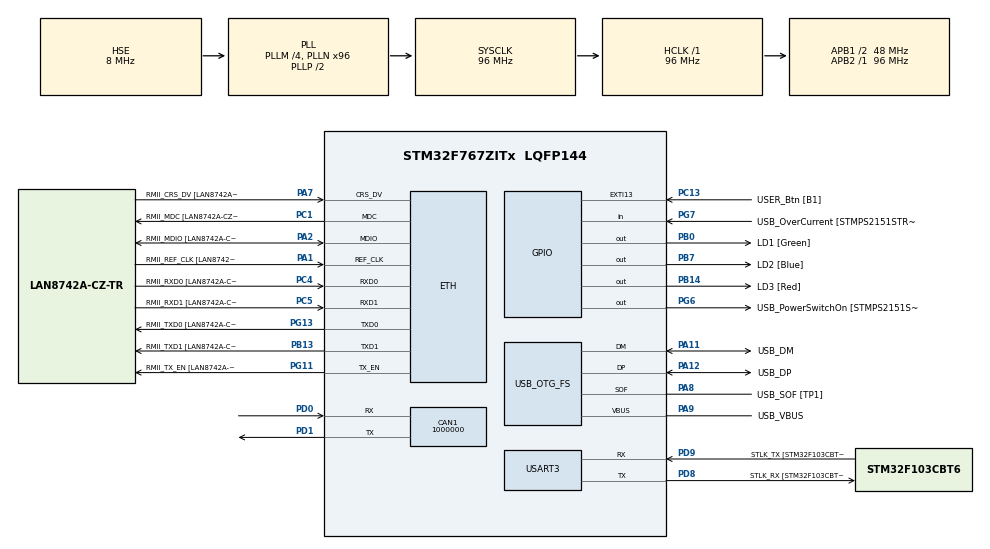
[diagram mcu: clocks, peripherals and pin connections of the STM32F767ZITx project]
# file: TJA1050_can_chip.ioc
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CAN1.CalculateBaudRate=1000000
CAN1.CalculateTimeQuantum=333.3333333333333
ETH.MediaInterface=HAL_ETH_RMII_MODE
ETH.PHY_Name=LAN8742A_PHY_ADDRESS
ETH.PHY_Value=0
ETH.PhyAddress=0
FREERTOS.Tasks01=defaultTask,24,128,StartDefaultTask,Default,NULL,Dynamic,NULL,NULL
Mcu.Family=STM32F7
Mcu.Name=STM32F767ZITx
Mcu.Package=LQFP144
NVIC.PriorityGroup=NVIC_PRIORITYGROUP_4
PA1.GPIO_Label=RMII_REF_CLK [LAN8742A-CZ-TR_REFCLK0]
PA1.Mode=RMII
PA1.Signal=ETH_REF_CLK
PA10.GPIO_Label=USB_ID
PA10.Signal=USB_OTG_FS_ID
PA11.GPIO_Label=USB_DM
PA11.Mode=Device_Only
PA11.Signal=USB_OTG_FS_DM
PA12.GPIO_Label=USB_DP
PA12.Mode=Device_Only
PA12.Signal=USB_OTG_FS_DP
PA13.GPIO_Label=TMS
PA13.Mode=Serial_Wire
PA13.Signal=SYS_JTMS-SWDIO
PA14.GPIO_Label=TCK
PA14.Mode=Serial_Wire
PA14.Signal=SYS_JTCK-SWCLK
PA2.GPIO_Label=RMII_MDIO [LAN8742A-CZ-TR_MDIO]
PA2.Mode=RMII
PA2.Signal=ETH_MDIO
PA7.GPIO_Label=RMII_CRS_DV [LAN8742A-CZ-TR_CRS_DV]
PA7.Mode=RMII
PA7.Signal=ETH_CRS_DV
PA8.GPIO_Label=USB_SOF [TP1]
PA8.Mode=Activate_SOF_FS
PA8.Signal=USB_OTG_FS_SOF
PA9.GPIO_Label=USB_VBUS
PA9.Mode=Activate_VBUS
PA9.Signal=USB_OTG_FS_VBUS
PB0.GPIO_Label=LD1 [Green]
PB0.Signal=GPIO_Output
PB13.GPIO_Label=RMII_TXD1 [LAN8742A-CZ-TR_TXD1]
PB13.Mode=RMII
PB13.Signal=ETH_TXD1
PB14.GPIO_Label=LD3 [Red]
PB14.Signal=GPIO_Output
PB3.GPIO_Label=SWO
PB3.Signal=SYS_JTDO-SWO
PB7.GPIO_Label=LD2 [Blue]
PB7.Signal=GPIO_Output
PC1.GPIO_Label=RMII_MDC [LAN8742A-CZ-TR_MDC]
PC1.Mode=RMII
PC1.Signal=ETH_MDC
PC13.GPIO_Label=USER_Btn [B1]
PC13.Signal=GPXTI13
PC14/OSC32_IN.Mode=LSE-External-Oscillator
PC14/OSC32_IN.Signal=RCC_OSC32_IN
PC15/OSC32_OUT.Mode=LSE-External-Oscillator
PC15/OSC32_OUT.Signal=RCC_OSC32_OUT
PC4.GPIO_Label=RMII_RXD0 [LAN8742A-CZ-TR_RXD0]
PC4.Mode=RMII
PC4.Signal=ETH_RXD0
PC5.GPIO_Label=RMII_RXD1 [LAN8742A-CZ-TR_RXD1]
PC5.Mode=RMII
PC5.Signal=ETH_RXD1
PD0.Mode=CAN_Activate
PD0.Signal=CAN1_RX
PD1.Mode=CAN_Activate
PD1.Signal=CAN1_TX
PD8.GPIO_Label=STLK_RX [STM32F103CBT6_PA3]
PD8.Mode=Asynchronous
PD8.Signal=USART3_TX
PD9.GPIO_Label=STLK_TX [STM32F103CBT6_PA2]
PD9.Mode=Asynchronous
PD9.Signal=USART3_RX
PG11.GPIO_Label=RMII_TX_EN [LAN8742A-CZ-TR_TXEN]
PG11.Mode=RMII
PG11.Signal=ETH_TX_EN
PG13.GPIO_Label=RMII_TXD0 [LAN8742A-CZ-TR_TXD0]
PG13.Mode=RMII
PG13.Signal=ETH_TXD0
PG6.GPIO_Label=USB_PowerSwitchOn [STMPS2151STR_EN]
PG6.Signal=GPIO_Output
PG7.GPIO_Label=USB_OverCurrent [STMPS2151STR_FAULT]
PG7.Signal=GPIO_Input
PH0/OSC_IN.GPIO_Label=MCO [STM32F103CBT6_PA8]
PH0/OSC_IN.Mode=HSE-External-Clock-Source
PH0/OSC_IN.Signal=RCC_OSC_IN
PH1/OSC_OUT.Mode=HSE-External-Clock-Source
PH1/OSC_OUT.Signal=RCC_OSC_OUT
ProjectManager.HeapSize=0x200
ProjectManager.StackSize=0x400
ProjectManager.TargetToolchain=STM32CubeIDE
RCC.48MHZClocksFreq_Value=24000000
RCC.AHBFreq_Value=96000000
RCC.APB1CLKDivider=RCC_HCLK_DIV2
RCC.APB1Freq_Value=48000000
RCC.APB1TimFreq_Value=96000000
RCC.APB2Freq_Value=96000000
RCC.APB2TimFreq_Value=96000000
RCC.CortexFreq_Value=96000000
RCC.HCLKFreq_Value=96000000
RCC.HSE_VALUE=8000000
RCC.HSI_VALUE=16000000
RCC.PLLM=4
RCC.PLLMUL=RCC_PLL_MUL9
RCC.PLLN=96
RCC.PLLQ=4
RCC.PRESCALERUSB=RCC_USBCLKSOURCE_PLL_DIV1_5
RCC.SYSCLKFreq_VALUE=96000000
RCC.SYSCLKSource=RCC_SYSCLKSOURCE_PLLCLK
RCC.SYSCLKSourceVirtual=RCC_SYSCLKSOURCE_PLLCLK
RCC.USBFreq_Value=48000000
RCC.VCOOutputFreq_Value=192000000
USART3.VirtualMode-Asynchronous=VM_ASYNC
USB_OTG_FS.VirtualMode=Device_Only
VP_FREERTOS_VS_CMSIS_V2.Mode=CMSIS_V2
board=NUCLEO-F767ZI

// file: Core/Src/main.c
/* USER CODE BEGIN Header */
/**
  ******************************************************************************
  * @file           : main.c
  * @brief          : Main program body
  ******************************************************************************
  * @attention
  *
  * Copyright (c) 2023 STMicroelectronics.
  * All rights reserved.
  *
  * This software is licensed under terms that can be found in the LICENSE file
  * in the root directory of this software component.
  * If no LICENSE file comes with this software, it is provided AS-IS.
  *
  ******************************************************************************
  */
/* USER CODE END Header */
#include "main.h"
#include "string.h"
#include "cmsis_os.h"

/* USER CODE BEGIN Includes */
#include "SEGGER_SYSVIEW.h"
/* USER CODE END Includes */

#if defined ( __ICCARM__ ) /*!< IAR Compiler */
#pragma location=0x2007c000
ETH_DMADescTypeDef  DMARxDscrTab[ETH_RX_DESC_CNT]; /* Ethernet Rx DMA Descriptors */
#pragma location=0x2007c0a0
ETH_DMADescTypeDef  DMATxDscrTab[ETH_TX_DESC_CNT]; /* Ethernet Tx DMA Descriptors */

#elif defined ( __CC_ARM )  /* MDK ARM Compiler */

__attribute__((at(0x2007c000))) ETH_DMADescTypeDef  DMARxDscrTab[ETH_RX_DESC_CNT]; /* Ethernet Rx DMA Descriptors */
__attribute__((at(0x2007c0a0))) ETH_DMADescTypeDef  DMATxDscrTab[ETH_TX_DESC_CNT]; /* Ethernet Tx DMA Descriptors */

#elif defined ( __GNUC__ ) /* GNU Compiler */
ETH_DMADescTypeDef DMARxDscrTab[ETH_RX_DESC_CNT] __attribute__((section(".RxDecripSection"))); /* Ethernet Rx DMA Descriptors */
ETH_DMADescTypeDef DMATxDscrTab[ETH_TX_DESC_CNT] __attribute__((section(".TxDecripSection")));   /* Ethernet Tx DMA Descriptors */

#endif

ETH_TxPacketConfig TxConfig;

CAN_HandleTypeDef hcan1;

ETH_HandleTypeDef heth;

UART_HandleTypeDef huart3;

PCD_HandleTypeDef hpcd_USB_OTG_FS;

/* Definitions for defaultTask */
osThreadId_t defaultTaskHandle;
const osThreadAttr_t defaultTask_attributes = {
  .name = "defaultTask",
  .stack_size = 128 * 4,
  .priority = (osPriority_t) osPriorityNormal,
};
/* USER CODE BEGIN PV */
CAN_TxHeaderTypeDef   TxHeader;

uint8_t               TxData[8];

uint32_t              TxMailbox;
/* USER CODE END PV */

void SystemClock_Config(void);
static void MX_GPIO_Init(void);
static void MX_ETH_Init(void);
static void MX_USART3_UART_Init(void);
static void MX_USB_OTG_FS_PCD_Init(void);
static void MX_CAN1_Init(void);
void StartDefaultTask(void *argument);

int main(void)
{

  /* MCU Configuration--------------------------------------------------------*/

  /* Reset of all peripherals, Initializes the Flash interface and the Systick. */
  HAL_Init();

  /* USER CODE BEGIN Init */
  SEGGER_SYSVIEW_Conf();
  /* USER CODE END Init */

  /* Configure the system clock */
  SystemClock_Config();

  /* Initialize all configured peripherals */
  MX_GPIO_Init();
  MX_ETH_Init();
  MX_USART3_UART_Init();
  MX_USB_OTG_FS_PCD_Init();
  MX_CAN1_Init();
  /* USER CODE BEGIN 2 */
  HAL_CAN_Start(&hcan1);

  /* USER CODE END 2 */

  /* Init scheduler */
  osKernelInitialize();

  /* Create the thread(s) */
  /* creation of defaultTask */
  defaultTaskHandle = osThreadNew(StartDefaultTask, NULL, &defaultTask_attributes);

  /* Start scheduler */
  osKernelStart();

  /* We should never get here as control is now taken by the scheduler */
  /* Infinite loop */
  while (1)
  {

  }
}

void SystemClock_Config(void)
{
  RCC_OscInitTypeDef RCC_OscInitStruct = {0};
  RCC_ClkInitTypeDef RCC_ClkInitStruct = {0};

  /** Configure LSE Drive Capability
  */
  HAL_PWR_EnableBkUpAccess();

  /** Configure the main internal regulator output voltage
  */
  __HAL_RCC_PWR_CLK_ENABLE();
  __HAL_PWR_VOLTAGESCALING_CONFIG(PWR_REGULATOR_VOLTAGE_SCALE3);

  /** Initializes the RCC Oscillators according to the specified parameters
  * in the RCC_OscInitTypeDef structure.
  */
  RCC_OscInitStruct.OscillatorType = RCC_OSCILLATORTYPE_HSE;
  RCC_OscInitStruct.HSEState = RCC_HSE_BYPASS;
  RCC_OscInitStruct.PLL.PLLState = RCC_PLL_ON;
  RCC_OscInitStruct.PLL.PLLSource = RCC_PLLSOURCE_HSE;
  RCC_OscInitStruct.PLL.PLLM = 4;
  RCC_OscInitStruct.PLL.PLLN = 96;
  RCC_OscInitStruct.PLL.PLLP = RCC_PLLP_DIV2;
  RCC_OscInitStruct.PLL.PLLQ = 4;
  RCC_OscInitStruct.PLL.PLLR = 2;
  if (HAL_RCC_OscConfig(&RCC_OscInitStruct) != HAL_OK)
  {
    Error_Handler();
  }

  /** Activate the Over-Drive mode
  */
  if (HAL_PWREx_EnableOverDrive() != HAL_OK)
  {
    Error_Handler();
  }

  /** Initializes the CPU, AHB and APB buses clocks
  */
  RCC_ClkInitStruct.ClockType = RCC_CLOCKTYPE_HCLK|RCC_CLOCKTYPE_SYSCLK
                              |RCC_CLOCKTYPE_PCLK1|RCC_CLOCKTYPE_PCLK2;
  RCC_ClkInitStruct.SYSCLKSource = RCC_SYSCLKSOURCE_PLLCLK;
  RCC_ClkInitStruct.AHBCLKDivider = RCC_SYSCLK_DIV1;
  RCC_ClkInitStruct.APB1CLKDivider = RCC_HCLK_DIV2;
  RCC_ClkInitStruct.APB2CLKDivider = RCC_HCLK_DIV1;

  if (HAL_RCC_ClockConfig(&RCC_ClkInitStruct, FLASH_LATENCY_3) != HAL_OK)
  {
    Error_Handler();
  }
}

static void MX_CAN1_Init(void)
{

  hcan1.Instance = CAN1;
  hcan1.Init.Prescaler = 16;
  hcan1.Init.Mode = CAN_MODE_NORMAL;
  hcan1.Init.SyncJumpWidth = CAN_SJW_1TQ;
  hcan1.Init.TimeSeg1 = CAN_BS1_1TQ;
  hcan1.Init.TimeSeg2 = CAN_BS2_1TQ;
  hcan1.Init.TimeTriggeredMode = DISABLE;
  hcan1.Init.AutoBusOff = DISABLE;
  hcan1.Init.AutoWakeUp = DISABLE;
  hcan1.Init.AutoRetransmission = DISABLE;
  hcan1.Init.ReceiveFifoLocked = DISABLE;
  hcan1.Init.TransmitFifoPriority = DISABLE;
  if (HAL_CAN_Init(&hcan1) != HAL_OK)
  {
    Error_Handler();
  }

}

static void MX_ETH_Init(void)
{

   static uint8_t MACAddr[6];

  heth.Instance = ETH;
  MACAddr[0] = 0x00;
  MACAddr[1] = 0x80;
  MACAddr[2] = 0xE1;
  MACAddr[3] = 0x00;
  MACAddr[4] = 0x00;
  MACAddr[5] = 0x00;
  heth.Init.MACAddr = &MACAddr[0];
  heth.Init.MediaInterface = HAL_ETH_RMII_MODE;
  heth.Init.TxDesc = DMATxDscrTab;
  heth.Init.RxDesc = DMARxDscrTab;
  heth.Init.RxBuffLen = 1524;

  if (HAL_ETH_Init(&heth) != HAL_OK)
  {
    Error_Handler();
  }

  memset(&TxConfig, 0 , sizeof(ETH_TxPacketConfig));
  TxConfig.Attributes = ETH_TX_PACKETS_FEATURES_CSUM | ETH_TX_PACKETS_FEATURES_CRCPAD;
  TxConfig.ChecksumCtrl = ETH_CHECKSUM_IPHDR_PAYLOAD_INSERT_PHDR_CALC;
  TxConfig.CRCPadCtrl = ETH_CRC_PAD_INSERT;

}

static void MX_USART3_UART_Init(void)
{

  huart3.Instance = USART3;
  huart3.Init.BaudRate = 115200;
  huart3.Init.WordLength = UART_WORDLENGTH_8B;
  huart3.Init.StopBits = UART_STOPBITS_1;
  huart3.Init.Parity = UART_PARITY_NONE;
  huart3.Init.Mode = UART_MODE_TX_RX;
  huart3.Init.HwFlowCtl = UART_HWCONTROL_NONE;
  huart3.Init.OverSampling = UART_OVERSAMPLING_16;
  huart3.Init.OneBitSampling = UART_ONE_BIT_SAMPLE_DISABLE;
  huart3.AdvancedInit.AdvFeatureInit = UART_ADVFEATURE_NO_INIT;
  if (HAL_UART_Init(&huart3) != HAL_OK)
  {
    Error_Handler();
  }

}

static void MX_USB_OTG_FS_PCD_Init(void)
{

  hpcd_USB_OTG_FS.Instance = USB_OTG_FS;
  hpcd_USB_OTG_FS.Init.dev_endpoints = 6;
  hpcd_USB_OTG_FS.Init.speed = PCD_SPEED_FULL;
  hpcd_USB_OTG_FS.Init.dma_enable = DISABLE;
  hpcd_USB_OTG_FS.Init.phy_itface = PCD_PHY_EMBEDDED;
  hpcd_USB_OTG_FS.Init.Sof_enable = ENABLE;
  hpcd_USB_OTG_FS.Init.low_power_enable = DISABLE;
  hpcd_USB_OTG_FS.Init.lpm_enable = DISABLE;
  hpcd_USB_OTG_FS.Init.vbus_sensing_enable = ENABLE;
  hpcd_USB_OTG_FS.Init.use_dedicated_ep1 = DISABLE;
  if (HAL_PCD_Init(&hpcd_USB_OTG_FS) != HAL_OK)
  {
    Error_Handler();
  }

}

static void MX_GPIO_Init(void)
{
  GPIO_InitTypeDef GPIO_InitStruct = {0};

  /* GPIO Ports Clock Enable */
  __HAL_RCC_GPIOC_CLK_ENABLE();
  __HAL_RCC_GPIOH_CLK_ENABLE();
  __HAL_RCC_GPIOA_CLK_ENABLE();
  __HAL_RCC_GPIOB_CLK_ENABLE();
  __HAL_RCC_GPIOD_CLK_ENABLE();
  __HAL_RCC_GPIOG_CLK_ENABLE();

  /*Configure GPIO pin Output Level */
  HAL_GPIO_WritePin(GPIOB, LD1_Pin|LD3_Pin|LD2_Pin, GPIO_PIN_RESET);

  /*Configure GPIO pin Output Level */
  HAL_GPIO_WritePin(USB_PowerSwitchOn_GPIO_Port, USB_PowerSwitchOn_Pin, GPIO_PIN_RESET);

  /*Configure GPIO pin : USER_Btn_Pin */
  GPIO_InitStruct.Pin = USER_Btn_Pin;
  GPIO_InitStruct.Mode = GPIO_MODE_IT_RISING;
  GPIO_InitStruct.Pull = GPIO_NOPULL;
  HAL_GPIO_Init(USER_Btn_GPIO_Port, &GPIO_InitStruct);

  /*Configure GPIO pins : LD1_Pin LD3_Pin LD2_Pin */
  GPIO_InitStruct.Pin = LD1_Pin|LD3_Pin|LD2_Pin;
  GPIO_InitStruct.Mode = GPIO_MODE_OUTPUT_PP;
  GPIO_InitStruct.Pull = GPIO_NOPULL;
  GPIO_InitStruct.Speed = GPIO_SPEED_FREQ_LOW;
  HAL_GPIO_Init(GPIOB, &GPIO_InitStruct);

  /*Configure GPIO pin : USB_PowerSwitchOn_Pin */
  GPIO_InitStruct.Pin = USB_PowerSwitchOn_Pin;
  GPIO_InitStruct.Mode = GPIO_MODE_OUTPUT_PP;
  GPIO_InitStruct.Pull = GPIO_NOPULL;
  GPIO_InitStruct.Speed = GPIO_SPEED_FREQ_LOW;
  HAL_GPIO_Init(USB_PowerSwitchOn_GPIO_Port, &GPIO_InitStruct);

  /*Configure GPIO pin : USB_OverCurrent_Pin */
  GPIO_InitStruct.Pin = USB_OverCurrent_Pin;
  GPIO_InitStruct.Mode = GPIO_MODE_INPUT;
  GPIO_InitStruct.Pull = GPIO_NOPULL;
  HAL_GPIO_Init(USB_OverCurrent_GPIO_Port, &GPIO_InitStruct);

}

void StartDefaultTask(void *argument)
{
  /* USER CODE BEGIN 5 */
  TxHeader.IDE = CAN_ID_STD;
  TxHeader.StdId = 0x446;
  TxHeader.RTR = CAN_RTR_DATA;
  TxHeader.DLC = 2;

  TxData[0] = 50;
  TxData[1] = 0xAA;
  /* Infinite loop */
  for(;;)
  {
    osDelay(1);
    if (HAL_CAN_AddTxMessage(&hcan1, &TxHeader, TxData, &TxMailbox) != HAL_OK)
    {
       SEGGER_SYSVIEW_PrintfHost("Transfer failed");
       //Error_Handler ();
    }
    else {
    	SEGGER_SYSVIEW_PrintfHost("Transfer success");
    }
	SEGGER_SYSVIEW_PrintfHost("Cycle");
  }
  /* USER CODE END 5 */
}

void Error_Handler(void)
{
  __disable_irq();
  while (1)
  {
  }
}
